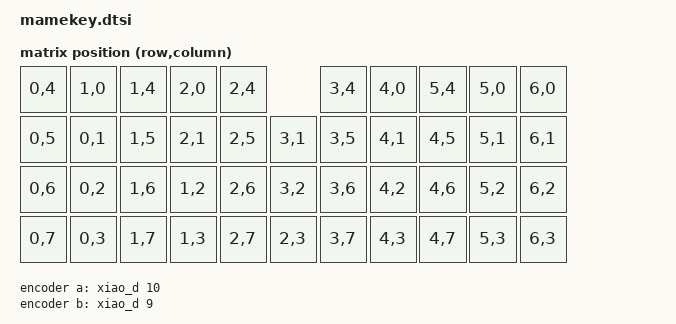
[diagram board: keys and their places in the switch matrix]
#include <dt-bindings/zmk/matrix_transform.h>
#include <physical_layouts.dtsi>
#include <dt-bindings/zmk/bt.h>

/ {

    chosen {
        zmk,physical-layout = &mamekey_physical_layout;
    };

    default_transform: matrix_transform {
        compatible = "zmk,matrix-transform";
        rows = <7>;
        columns = <8>;
		// | SW1   | SW5   | SW9   | SW13  | SW17  |       | SW24  | SW28  | SW32  | SW36  | SW40 |
		// | SW2   | SW6   | SW10  | SW14  | SW18  | SW21  | SW25  | SW29  | SW33  | SW37  | SW41 |
		// | SW3   | SW7   | SW11  | SW15  | SW19  | SW22  | SW26  | SW30  | SW34  | SW38  | SW42 |
		// | SW4   | SW    | SW12  | SW16  | SW20  | SW23  | SW27  | SW31  | SW35  | SW39  | SW43 |  
        map = <
            RC(0,4) RC(1,0) RC(1,4) RC(2,0) RC(2,4)         RC(3,4) RC(4,0) RC(5,4) RC(5,0) RC(6,0)
            RC(0,5) RC(0,1) RC(1,5) RC(2,1) RC(2,5) RC(3,1) RC(3,5) RC(4,1) RC(4,5) RC(5,1) RC(6,1)
            RC(0,6) RC(0,2) RC(1,6) RC(1,2) RC(2,6) RC(3,2) RC(3,6) RC(4,2) RC(4,6) RC(5,2) RC(6,2)
            RC(0,7) RC(0,3) RC(1,7) RC(1,3) RC(2,7) RC(2,3) RC(3,7) RC(4,3) RC(4,7) RC(5,3) RC(6,3) 
        >;
    };
    
    mamekey_physical_layout: mamekey_physical_layout {
        compatible = "zmk,physical-layout";
        display-name = "Default";
        transform = <&default_transform>;
        kscan = <&kscan0>;

        keys  //                     w   h    x    y     rot    rx    ry
            = <&key_physical_attrs 100 100    0    0       0     0     0>
            , <&key_physical_attrs 100 100  100    0       0     0     0>
            , <&key_physical_attrs 100 100  200    0       0     0     0>
            , <&key_physical_attrs 100 100  300    0       0     0     0>
            , <&key_physical_attrs 100 100  400    0       0     0     0>
            , <&key_physical_attrs 100 100  600    0       0     0     0>
            , <&key_physical_attrs 100 100  700    0       0     0     0>
            , <&key_physical_attrs 100 100  800    0       0     0     0>
            , <&key_physical_attrs 100 100  900    0       0     0     0>
            , <&key_physical_attrs 100 100 1000    0       0     0     0>
            , <&key_physical_attrs 100 100    0  100       0     0     0>
            , <&key_physical_attrs 100 100  100  100       0     0     0>
            , <&key_physical_attrs 100 100  200  100       0     0     0>
            , <&key_physical_attrs 100 100  300  100       0     0     0>
            , <&key_physical_attrs 100 100  400  100       0     0     0>
            , <&key_physical_attrs 100 100  500  100       0     0     0>
            , <&key_physical_attrs 100 100  600  100       0     0     0>
            , <&key_physical_attrs 100 100  700  100       0     0     0>
            , <&key_physical_attrs 100 100  800  100       0     0     0>
            , <&key_physical_attrs 100 100  900  100       0     0     0>
            , <&key_physical_attrs 100 100 1000  100       0     0     0>
            , <&key_physical_attrs 100 100    0  200       0     0     0>
            , <&key_physical_attrs 100 100  100  200       0     0     0>
            , <&key_physical_attrs 100 100  200  200       0     0     0>
            , <&key_physical_attrs 100 100  300  200       0     0     0>
            , <&key_physical_attrs 100 100  400  200       0     0     0>
            , <&key_physical_attrs 100 100  500  200       0     0     0>
            , <&key_physical_attrs 100 100  600  200       0     0     0>
            , <&key_physical_attrs 100 100  700  200       0     0     0>
            , <&key_physical_attrs 100 100  800  200       0     0     0>
            , <&key_physical_attrs 100 100  900  200       0     0     0>
            , <&key_physical_attrs 100 100 1000  200       0     0     0>
            , <&key_physical_attrs 100 100    0  300       0     0     0>
            , <&key_physical_attrs 100 100  100  300       0     0     0>
            , <&key_physical_attrs 100 100  200  300       0     0     0>
            , <&key_physical_attrs 100 100  300  300       0     0     0>
            , <&key_physical_attrs 100 100  400  300       0     0     0>
            , <&key_physical_attrs 100 100  500  300       0     0     0>
            , <&key_physical_attrs 100 100  600  300       0     0     0>
            , <&key_physical_attrs 100 100  700  300       0     0     0>
            , <&key_physical_attrs 100 100  800  300       0     0     0>
            , <&key_physical_attrs 100 100  900  300       0     0     0>
            , <&key_physical_attrs 100 100 1000  300       0     0     0>            ;
    };
    
    kscan0: kscan {
        compatible = "zmk,kscan-gpio-charlieplex";

        interrupt-gpios = <&xiao_d 1 (GPIO_ACTIVE_HIGH | GPIO_PULL_DOWN) >;
    };
    
        encoder: encoder {
        compatible = "alps,ec11";
        a-gpios = <&xiao_d 10 (GPIO_ACTIVE_HIGH | GPIO_PULL_UP)>;
        b-gpios = <&xiao_d 9 (GPIO_ACTIVE_HIGH | GPIO_PULL_UP)>;
        steps = <24>;
        status = "okay";
    };
    
    sensors: sensors {
        compatible = "zmk,keymap-sensors";
        sensors = <&encoder>;
        triggers-per-rotation = <10>;
    };
};

&xiao_i2c { status = "disabled"; };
